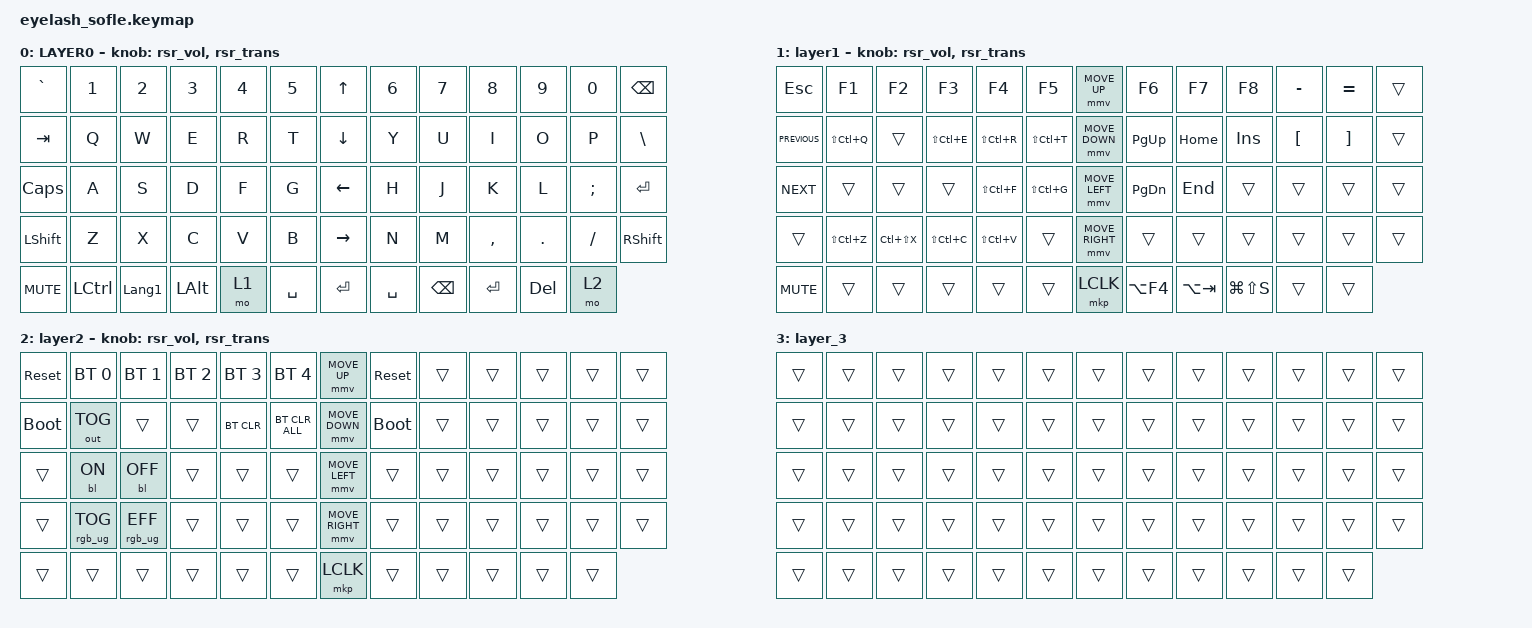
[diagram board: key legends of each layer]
#include <input/processors.dtsi>
#include <zephyr/dt-bindings/input/input-event-codes.h>
#include <behaviors/runtime-sensor-rotate.dtsi>
#include <behaviors.dtsi>
#include <dt-bindings/zmk/backlight.h>
#include <dt-bindings/zmk/bt.h>
#include <dt-bindings/zmk/keys.h>
#include <dt-bindings/zmk/outputs.h>
#include <dt-bindings/zmk/pointing.h>
#include <dt-bindings/zmk/rgb.h>

/ {
    zip_scroll_scaler: zip_scroll_scaler {
        compatible = "zmk,input-processor-scaler";
        #input-processor-cells = <2>;
        type = <INPUT_EV_REL>;
        codes = <INPUT_REL_WHEEL INPUT_REL_HWHEEL>;
        track-remainders;
    };
};

&mmv_input_listener { input-processors = <&zip_xy_scaler 2 1>; };

&msc_input_listener { input-processors = <&zip_scroll_scaler 2 1>; };

&msc {
    acceleration-exponent = <0>;      // 0
    time-to-max-speed-ms = <0>;       // 300
    delay-ms = <0>;                   // 0
};

&mmv {
    time-to-max-speed-ms = <400>;
    acceleration-exponent = <1>;
};

&soft_off { hold-time-ms = <2000>; };

/ {
    behaviors {
        rsr_vol: rsr_vol {
            compatible = "zmk,behavior-runtime-sensor-rotate";
            #sensor-binding-cells = <0>;
            tap-ms = <5>;
            cw-binding = <&kp C_VOL_UP>;
            ccw-binding = <&kp C_VOL_DN>;
        };

        rsr_trans: rsr_trans {
            compatible = "zmk,behavior-runtime-sensor-rotate";
            #sensor-binding-cells = <0>;
            tap-ms = <0>;
        };
    };

    macros {
        shift_MB3: shift_MB3 {
            compatible = "zmk,behavior-macro";
            #binding-cells = <0>;
            bindings =
                <&macro_press>,
                <&kp LEFT_SHIFT>,
                <&macro_press>,
                <&mkp MB3>,
                <&macro_pause_for_release>,
                <&macro_release>,
                <&mkp MB3 &kp LEFT_SHIFT>;

            label = "SHIFT_MB3";
        };
    };

    combos {
        compatible = "zmk,combos";

        softoff {
            bindings = <&soft_off>;
            key-positions = <14 28 40>;
        };
    };

    keymap {
        compatible = "zmk,keymap";

        layer0 {
            bindings = <
&kp GRAVE   &kp N1     &kp N2          &kp N3        &kp N4  &kp N5       &kp UP_ARROW     &kp N6     &kp N7         &kp N8     &kp N9      &kp N0    &kp BACKSPACE
&kp TAB     &kp Q      &kp W           &kp E         &kp R   &kp T        &kp DOWN_ARROW   &kp Y      &kp U          &kp I      &kp O       &kp P     &kp BSLH
&kp CAPS    &kp A      &kp S           &kp D         &kp F   &kp G        &kp LEFT_ARROW   &kp H      &kp J          &kp K      &kp L       &kp SEMI  &kp ENTER
&kp LSHFT   &kp Z      &kp X           &kp C         &kp V   &kp B        &kp RIGHT_ARROW  &kp N      &kp M          &kp COMMA  &kp DOT     &kp FSLH  &kp RSHIFT
&kp C_MUTE  &kp LCTRL  &kp LANGUAGE_1  &kp LEFT_ALT  &mo 1   &kp SPACE    &kp ENTER        &kp SPACE  &kp BACKSPACE  &kp ENTER  &kp DELETE  &mo 2
            >;

            sensor-bindings = <&rsr_vol &rsr_trans>;
            display-name = "LAYER0";
        };

        layer_1 {
            bindings = <
&kp ESCAPE      &kp F1         &kp F2         &kp F3         &kp F4         &kp F5           &mmv MOVE_UP     &kp F6      &kp F7       &kp F8         &kp MINUS         &kp EQUAL          &trans
&kp C_PREVIOUS  &kp LS(LC(Q))  &trans         &kp LS(LC(E))  &kp LS(LC(R))  &kp LS(LC(T))    &mmv MOVE_DOWN   &kp PG_UP   &kp HOME     &kp INSERT     &kp LEFT_BRACKET  &kp RIGHT_BRACKET  &trans
&kp C_NEXT      &trans         &trans         &trans         &kp LS(LC(F))  &kp LS(LC(G))    &mmv MOVE_LEFT   &kp PG_DN   &kp END      &trans         &trans            &trans             &trans
&trans          &kp LS(LC(Z))  &kp LC(LS(X))  &kp LS(LC(C))  &kp LS(LC(V))  &trans           &mmv MOVE_RIGHT  &trans      &trans       &trans         &trans            &trans             &trans
&kp C_MUTE      &trans         &trans         &trans         &trans         &trans           &mkp LCLK        &kp LA(F4)  &kp LA(TAB)  &kp LG(LS(S))  &trans            &trans
            >;

            display-name = "layer1";
            sensor-bindings = <&rsr_vol &rsr_trans>;
        };

        layer_2 {
            bindings = <
&sys_reset   &bt BT_SEL 0     &bt BT_SEL 1     &bt BT_SEL 2  &bt BT_SEL 3  &bt BT_SEL 4      &mmv MOVE_UP     &sys_reset   &trans  &trans  &trans  &trans  &trans
&bootloader  &out OUT_TOG     &trans           &trans        &bt BT_CLR    &bt BT_CLR_ALL    &mmv MOVE_DOWN   &bootloader  &trans  &trans  &trans  &trans  &trans
&trans       &bl BL_ON        &bl BL_OFF       &trans        &trans        &trans            &mmv MOVE_LEFT   &trans       &trans  &trans  &trans  &trans  &trans
&trans       &rgb_ug RGB_TOG  &rgb_ug RGB_EFF  &trans        &trans        &trans            &mmv MOVE_RIGHT  &trans       &trans  &trans  &trans  &trans  &trans
&trans       &trans           &trans           &trans        &trans        &trans            &mkp LCLK        &trans       &trans  &trans  &trans  &trans
            >;

            display-name = "layer2";
            sensor-bindings = <&rsr_vol &rsr_trans>;
        };

        layer_3 {
            bindings = <
&trans  &trans  &trans  &trans  &trans  &trans    &trans  &trans  &trans  &trans  &trans  &trans  &trans
&trans  &trans  &trans  &trans  &trans  &trans    &trans  &trans  &trans  &trans  &trans  &trans  &trans
&trans  &trans  &trans  &trans  &trans  &trans    &trans  &trans  &trans  &trans  &trans  &trans  &trans
&trans  &trans  &trans  &trans  &trans  &trans    &trans  &trans  &trans  &trans  &trans  &trans  &trans
&trans  &trans  &trans  &trans  &trans  &trans    &trans  &trans  &trans  &trans  &trans  &trans
            >;
        };
    };
};
